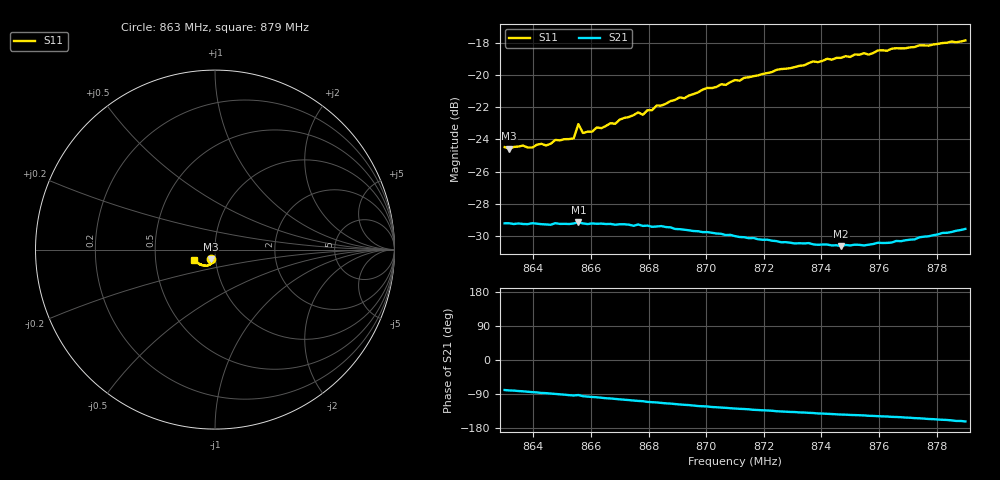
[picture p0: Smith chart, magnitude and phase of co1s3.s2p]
# HZ S RI R 50
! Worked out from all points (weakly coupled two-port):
!   101 points, 863 MHz to 879 MHz, reference 50 ohm
!   highest |S21| = -29.15 dB at 865.56 MHz (marker M1); lowest = -30.6 dB at 874.68 MHz (marker M2)
!   lowest |S11| = -24.6 dB at 863.16 MHz (marker M3), VSWR 1.13, Z = 47.5 - j5.18 ohm
!   |S11| at or under -10 dB: start of sweep to end of sweep
!   S12 and S22 are empty: the file has one direction only
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8.63e8  -0.0237 -0.0548  0.00646 -0.034  0 0  0 0
8.6316e8  -0.0229 -0.0544  0.00582 -0.0342  0 0  0 0
8.6364e8  -0.0221 -0.0562  0.00444 -0.0342  0 0  0 0
8.6396e8  -0.0194 -0.0563  0.00312 -0.0345  0 0  0 0
8.6428e8  -0.0186 -0.0583  0.00183 -0.0344  0 0  0 0
8.6444e8  -0.0185 -0.0575  0.00152 -0.0343  0 0  0 0
8.6476e8  -0.0187 -0.06  0.000296 -0.0347  0 0  0 0
8.654e8  -0.017 -0.0613  -0.00223 -0.0346  0 0  0 0
8.6556e8  -0.0259 -0.0654  -0.0015 -0.0348  0 0  0 0
8.6572e8  -0.0165 -0.064  -0.00329 -0.0345  0 0  0 0
8.6668e8  -0.0179 -0.0685  -0.00689 -0.0338  0 0  0 0
8.6684e8  -0.0177 -0.0683  -0.00753 -0.0335  0 0  0 0
8.67e8  -0.0188 -0.0702  -0.00825 -0.0334  0 0  0 0
8.6764e8  -0.0205 -0.0737  -0.0106 -0.0327  0 0  0 0
8.678e8  -0.0199 -0.0725  -0.0109 -0.0322  0 0  0 0
8.6828e8  -0.0222 -0.0772  -0.0127 -0.0314  0 0  0 0
8.6844e8  -0.0218 -0.0773  -0.0134 -0.0312  0 0  0 0
8.71e8  -0.0396 -0.0879  -0.0195 -0.0249  0 0  0 0
8.7372e8  -0.0637 -0.0898  -0.0228 -0.0192  0 0  0 0
8.7468e8  -0.0748 -0.0845  -0.0238 -0.0173  0 0  0 0
8.7644e8  -0.0921 -0.0777  -0.0262 -0.0151  0 0  0 0
8.79e8  -0.1153 -0.0553  -0.0317 -0.0102  0 0  0 0
